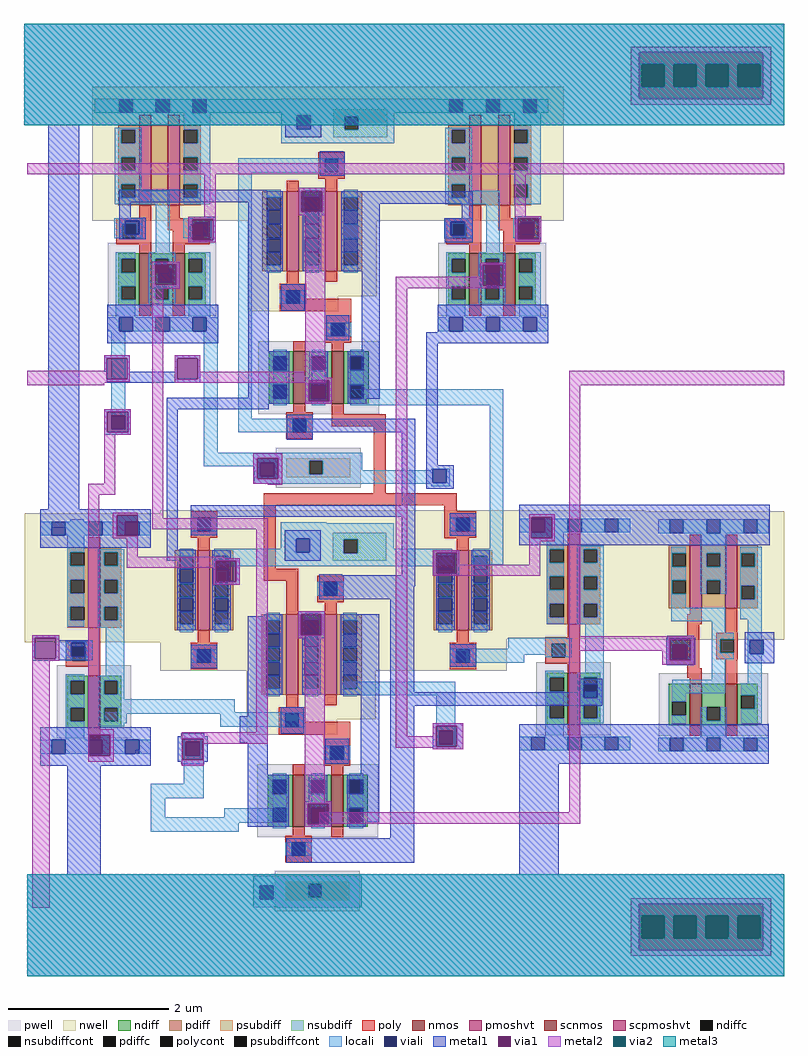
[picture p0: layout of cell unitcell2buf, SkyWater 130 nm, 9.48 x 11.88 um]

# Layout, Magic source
magic
tech sky130A
magscale 1 2
<< nwell >>
rect -404 1024 772 1034
rect -396 703 772 1024
rect -404 700 772 703
rect 258 -422 630 -22
<< poly >>
rect 194 218 224 220
rect 194 188 328 218
rect 298 20 328 188
rect 24 -10 506 20
rect 24 -168 54 -10
rect 474 -92 506 -10
rect 24 -198 110 -168
rect 80 -272 110 -198
<< locali >>
rect -398 970 -336 1004
rect -114 998 68 1003
rect 180 1002 458 1004
rect 346 998 460 1002
rect -109 969 78 998
rect 342 969 487 998
rect 160 818 226 856
rect -322 666 -321 700
rect -287 666 -286 700
rect -150 662 -148 696
rect -114 662 -112 696
rect 256 690 258 692
rect 490 690 491 698
rect 224 658 258 690
rect 480 664 491 690
rect 525 690 526 698
rect 525 664 544 690
rect 664 664 665 698
rect 699 664 700 698
rect 480 658 544 664
rect -240 580 -204 582
rect -240 546 -239 580
rect -205 546 -204 580
rect -240 544 -204 546
rect 578 575 614 576
rect 578 541 579 575
rect 613 541 614 575
rect 578 540 614 541
rect -356 425 -330 458
rect -356 214 -322 425
rect -125 122 -91 457
rect 240 240 622 280
rect 80 172 94 206
rect -125 118 0 122
rect -125 88 10 118
rect 442 80 488 82
rect 442 78 446 80
rect 270 76 446 78
rect 10 44 46 62
rect 242 46 446 76
rect 480 46 488 80
rect 242 44 488 46
rect 442 38 488 44
rect -459 -65 -425 -44
rect 588 -118 622 240
rect -100 -162 106 -118
rect 306 -162 494 -118
rect 546 -158 622 -118
rect -78 -324 -64 -294
rect -74 -326 -64 -324
rect -460 -386 -456 -352
rect -422 -386 -418 -352
rect 634 -362 778 -340
rect 1234 -346 1272 -344
rect 1038 -358 1082 -356
rect 488 -368 554 -366
rect 634 -368 792 -362
rect 488 -372 792 -368
rect 530 -382 792 -372
rect 530 -402 674 -382
rect 726 -388 792 -382
rect 1038 -392 1043 -358
rect 1077 -392 1082 -358
rect 1234 -380 1236 -346
rect 1270 -380 1272 -346
rect 1234 -382 1272 -380
rect 1038 -394 1082 -392
rect 222 -484 502 -450
rect -332 -526 -48 -494
rect -378 -530 128 -526
rect -378 -554 -318 -530
rect -84 -562 128 -530
rect 454 -572 502 -484
rect -176 -600 -130 -590
rect -176 -634 -170 -600
rect -136 -620 -130 -600
rect 454 -606 462 -572
rect 496 -606 502 -572
rect 454 -618 502 -606
rect -136 -634 -126 -620
rect -176 -704 -126 -634
rect -258 -740 -126 -704
rect -258 -788 -222 -740
rect 78 -766 81 -729
rect -74 -788 82 -766
rect -258 -802 82 -788
rect -258 -824 -38 -802
rect 214 -978 266 -936
<< viali >>
rect -321 666 -287 700
rect -148 662 -114 696
rect 491 664 525 698
rect 665 664 699 698
rect -239 546 -205 580
rect 579 541 613 575
rect -356 180 -322 214
rect 446 46 480 80
rect -456 -386 -422 -352
rect 1043 -392 1077 -358
rect 1236 -380 1270 -346
rect 822 -490 856 -456
rect -170 -634 -136 -600
rect 462 -606 496 -572
<< metal1 >>
rect -574 1120 1322 1192
rect -574 1004 961 1120
rect 1269 1004 1322 1120
rect -574 938 1322 1004
rect -514 -66 -436 938
rect 102 922 146 938
rect -336 746 30 778
rect -336 708 -308 746
rect 226 742 546 774
rect -336 700 -270 708
rect -336 666 -321 700
rect -287 666 -270 700
rect -336 654 -270 666
rect -164 704 -96 710
rect 518 706 546 742
rect -164 652 -154 704
rect -102 652 -96 704
rect -164 646 -96 652
rect 476 698 546 706
rect 476 664 491 698
rect 525 664 546 698
rect 476 646 546 664
rect 652 706 716 712
rect 652 654 658 706
rect 710 654 716 706
rect 652 648 716 654
rect -254 592 -186 598
rect -254 540 -246 592
rect -194 540 -186 592
rect -254 530 -186 540
rect 564 590 628 596
rect 564 538 570 590
rect 622 538 628 590
rect 564 532 628 538
rect -374 357 -310 364
rect -374 324 -368 357
rect -316 324 -310 357
rect -198 357 -134 364
rect -198 324 -192 357
rect -316 305 -192 324
rect -140 305 -134 357
rect -368 296 -134 305
rect -218 244 -14 258
rect -218 230 36 244
rect -374 224 -308 230
rect -374 172 -366 224
rect -314 172 -308 224
rect -374 166 -308 172
rect -218 -120 -190 230
rect 106 172 402 206
rect 4 108 64 112
rect 4 56 8 108
rect 60 56 64 108
rect 4 52 64 56
rect 368 -10 402 172
rect 430 90 458 422
rect 430 80 498 90
rect 430 46 446 80
rect 480 46 498 80
rect 430 32 498 46
rect -158 -38 402 -10
rect -158 -84 -92 -38
rect -218 -122 -146 -120
rect -218 -124 -190 -122
rect -218 -148 -192 -124
rect -102 -148 -36 -142
rect -102 -200 -96 -148
rect -44 -200 -36 -148
rect -102 -208 -36 -200
rect 368 -212 402 -38
rect 488 -86 554 -30
rect 662 -40 1286 -8
rect 662 -92 692 -40
rect 744 -92 1286 -40
rect 662 -110 1286 -92
rect 446 -128 512 -122
rect 446 -180 454 -128
rect 506 -180 512 -128
rect 446 -186 512 -180
rect -554 -340 -486 -334
rect -554 -392 -547 -340
rect -495 -346 -486 -340
rect 1028 -344 1100 -340
rect -495 -352 -402 -346
rect -495 -386 -456 -352
rect -422 -386 -402 -352
rect -495 -392 -402 -386
rect -554 -396 -402 -392
rect -554 -398 -486 -396
rect -158 -416 -92 -358
rect 488 -412 554 -356
rect 1028 -396 1037 -344
rect 1089 -396 1100 -344
rect 1028 -408 1100 -396
rect 1224 -346 1298 -326
rect 1224 -380 1236 -346
rect 1270 -380 1298 -346
rect 1224 -404 1298 -380
rect 810 -456 868 -442
rect 810 -476 822 -456
rect 386 -490 822 -476
rect 856 -490 868 -456
rect 386 -510 868 -490
rect -414 -582 -356 -576
rect -414 -628 -411 -582
rect -466 -634 -411 -628
rect -359 -634 -356 -582
rect -182 -586 -124 -578
rect -190 -592 -116 -586
rect -466 -640 -356 -634
rect -466 -930 -382 -640
rect -296 -654 -284 -620
rect -190 -644 -179 -592
rect -127 -644 -116 -592
rect -36 -602 28 -536
rect 446 -560 522 -554
rect 446 -612 454 -560
rect 506 -612 522 -560
rect 446 -618 522 -612
rect -190 -650 -116 -644
rect -182 -656 -124 -650
rect 662 -654 1284 -556
rect 662 -930 760 -654
rect -566 -1004 1322 -930
rect -566 -1120 961 -1004
rect 1269 -1120 1322 -1004
rect -566 -1184 1322 -1120
<< via1 >>
rect 961 1004 1269 1120
rect -154 696 -102 704
rect -154 662 -148 696
rect -148 662 -114 696
rect -114 662 -102 696
rect -154 652 -102 662
rect 658 698 710 706
rect 658 664 665 698
rect 665 664 699 698
rect 699 664 710 698
rect 658 654 710 664
rect -246 580 -194 592
rect -246 546 -239 580
rect -239 546 -205 580
rect -205 546 -194 580
rect -246 540 -194 546
rect 570 575 622 590
rect 570 541 579 575
rect 579 541 613 575
rect 613 541 622 575
rect 570 538 622 541
rect -368 305 -316 357
rect -192 305 -140 357
rect -366 214 -314 224
rect -366 180 -356 214
rect -356 180 -322 214
rect -322 180 -314 214
rect -366 172 -314 180
rect -342 -86 -290 -34
rect 8 56 60 108
rect -96 -200 -44 -148
rect 692 -92 744 -40
rect 454 -180 506 -128
rect -547 -392 -495 -340
rect 1037 -358 1089 -344
rect 1037 -392 1043 -358
rect 1043 -392 1077 -358
rect 1077 -392 1089 -358
rect 1037 -396 1089 -392
rect -411 -634 -359 -582
rect -179 -600 -127 -592
rect -179 -634 -170 -600
rect -170 -634 -136 -600
rect -136 -634 -127 -600
rect -179 -644 -127 -634
rect 454 -572 506 -560
rect 454 -606 462 -572
rect 462 -606 496 -572
rect 496 -606 506 -572
rect 454 -612 506 -606
rect 961 -1120 1269 -1004
<< metal2 >>
rect 940 1120 1290 1134
rect 940 1004 961 1120
rect 1269 1004 1290 1120
rect 940 990 1290 1004
rect -566 816 1322 844
rect -124 710 -96 816
rect -164 704 -96 710
rect -164 652 -154 704
rect -102 652 -96 704
rect 650 712 678 816
rect 650 706 716 712
rect 650 692 658 706
rect -164 646 -96 652
rect 652 654 658 692
rect 710 654 716 706
rect 652 648 716 654
rect -254 592 -186 598
rect -254 540 -246 592
rect -194 540 -186 592
rect 564 590 628 596
rect 564 560 570 590
rect -254 530 -186 540
rect 354 538 570 560
rect 622 538 628 590
rect 354 532 628 538
rect -374 357 -310 364
rect -374 326 -368 357
rect -566 305 -368 326
rect -316 305 -310 357
rect -566 298 -310 305
rect -566 296 -368 298
rect -566 290 -374 296
rect -374 224 -308 230
rect -374 172 -366 224
rect -314 172 -308 224
rect -374 166 -308 172
rect -374 44 -346 166
rect -414 16 -346 44
rect -554 -340 -486 -334
rect -554 -392 -547 -340
rect -495 -392 -486 -340
rect -554 -398 -486 -392
rect -554 -1014 -510 -398
rect -414 -568 -386 16
rect -352 -34 -290 -28
rect -352 -86 -342 -34
rect -254 -42 -226 530
rect 136 462 168 504
rect -198 357 -134 364
rect -198 305 -192 357
rect -140 324 -134 357
rect -140 305 180 324
rect -198 296 180 305
rect -2 108 70 120
rect -2 56 8 108
rect 60 56 70 108
rect -2 44 70 56
rect 34 42 70 44
rect -254 -70 34 -42
rect -352 -92 -290 -86
rect -318 -138 -290 -92
rect -318 -142 -74 -138
rect -318 -148 -36 -142
rect -318 -166 -96 -148
rect -102 -200 -96 -166
rect -44 -200 -36 -148
rect -102 -208 -36 -200
rect -414 -582 -350 -568
rect 6 -576 34 -70
rect 138 -572 166 -536
rect -414 -634 -411 -582
rect -359 -634 -350 -582
rect -414 -650 -350 -634
rect -180 -592 34 -576
rect -180 -644 -179 -592
rect -127 -604 34 -592
rect 354 -586 382 532
rect 786 290 1322 326
rect 686 -40 750 -32
rect 686 -92 692 -40
rect 744 -92 750 -40
rect 686 -100 750 -92
rect 446 -128 512 -122
rect 446 -180 454 -128
rect 506 -158 512 -128
rect 686 -158 714 -100
rect 506 -180 714 -158
rect 446 -186 714 -180
rect 786 -336 814 290
rect 786 -344 1098 -336
rect 786 -372 1037 -344
rect 446 -560 522 -554
rect 446 -586 454 -560
rect -127 -644 -126 -604
rect 354 -612 454 -586
rect 506 -612 522 -560
rect 354 -614 522 -612
rect 446 -618 522 -614
rect -180 -660 -126 -644
rect 786 -776 814 -372
rect 1018 -396 1037 -372
rect 1089 -396 1098 -344
rect 1018 -408 1098 -396
rect 162 -804 814 -776
rect 940 -1004 1290 -990
rect 940 -1120 961 -1004
rect 1269 -1120 1290 -1004
rect 940 -1134 1290 -1120
<< via2 >>
rect 967 1034 1023 1090
rect 1047 1034 1103 1090
rect 1127 1034 1183 1090
rect 1207 1034 1263 1090
rect 967 -1090 1023 -1034
rect 1047 -1090 1103 -1034
rect 1127 -1090 1183 -1034
rect 1207 -1090 1263 -1034
<< metal3 >>
rect -574 1090 1322 1192
rect -574 1034 967 1090
rect 1023 1034 1047 1090
rect 1103 1034 1127 1090
rect 1183 1034 1207 1090
rect 1263 1034 1322 1090
rect -574 938 1322 1034
rect -566 -1034 1322 -930
rect -566 -1090 967 -1034
rect 1023 -1090 1047 -1034
rect 1103 -1090 1127 -1034
rect 1183 -1090 1207 -1034
rect 1263 -1090 1322 -1034
rect -566 -1185 1322 -1090
use sky130_fd_pr__pfet_01v8_hvt_UUWA33  1
transform 1 0 -125 0 1 -222
box -109 -200 109 200
use sky130_fd_pr__pfet_01v8_hvt_UUWA33  2
transform 1 0 521 0 1 -222
box -109 -200 109 200
use demux  demux_0
transform 1 0 36 0 1 156
box -76 -122 336 878
use demux  demux_1
transform 1 0 36 0 1 156
box -76 -122 336 878
use mux  mux_0
transform 1 0 34 0 1 -900
box -54 -122 366 878
use mux  mux_1
transform 1 0 34 0 1 -900
box -54 -122 366 878
use sky130_fd_pr__pfet_01v8_hvt_UUWA33  sky130_fd_pr__pfet_01v8_hvt_UUWA33_0
transform 1 0 -125 0 1 -222
box -109 -200 109 200
use sky130_fd_pr__pfet_01v8_hvt_UUWA33  sky130_fd_pr__pfet_01v8_hvt_UUWA33_1
transform 1 0 521 0 1 -222
box -109 -200 109 200
use sky130_fd_sc_hd__buf_1  sky130_fd_sc_hd__buf_1_0
transform 1 0 1008 0 1 -606
box -38 -48 314 592
use sky130_fd_sc_hd__buf_1  sky130_fd_sc_hd__buf_1_1
transform 1 0 1008 0 1 -606
box -38 -48 314 592
use sky130_fd_sc_hd__inv_1#0  sky130_fd_sc_hd__inv_1#0_0
transform 1 0 662 0 1 -604
box -38 -48 314 592
use sky130_fd_sc_hd__inv_1#0  sky130_fd_sc_hd__inv_1#0_1
transform 1 0 -534 0 1 -612
box -38 -48 314 592
use sky130_fd_sc_hd__inv_1#0  sky130_fd_sc_hd__inv_1_0
transform 1 0 662 0 1 -604
box -38 -48 314 592
use sky130_fd_sc_hd__inv_1#0  sky130_fd_sc_hd__inv_1_1
transform 1 0 -534 0 1 -612
box -38 -48 314 592
use sky130_fd_sc_hd__nor2_1  sky130_fd_sc_hd__nor2_1_0
transform 1 0 458 0 1 442
box -38 -48 314 592
use sky130_fd_sc_hd__nor2_1  sky130_fd_sc_hd__nor2_1_1
transform 1 0 -366 0 1 442
box -38 -48 314 592
use sky130_fd_sc_hd__nor2_1  sky130_fd_sc_hd__nor2_1_2
transform 1 0 -366 0 1 442
box -38 -48 314 592
use sky130_fd_sc_hd__nor2_1  sky130_fd_sc_hd__nor2_1_3
transform 1 0 458 0 1 442
box -38 -48 314 592
<< properties >>
string GDS_END 9459466
string GDS_FILE /scratch/users/lsammaro/OpenPUF/mag/design_merged.gds
string GDS_START 9427114
<< end >>

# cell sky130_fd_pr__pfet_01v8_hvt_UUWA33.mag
magic
tech sky130A
magscale 1 2
<< nwell >>
rect -109 -200 109 200
<< pmoshvt >>
rect -15 -100 15 100
<< pdiff >>
rect -73 85 -15 100
rect -73 51 -61 85
rect -27 51 -15 85
rect -73 17 -15 51
rect -73 -17 -61 17
rect -27 -17 -15 17
rect -73 -51 -15 -17
rect -73 -85 -61 -51
rect -27 -85 -15 -51
rect -73 -100 -15 -85
rect 15 85 73 100
rect 15 51 27 85
rect 61 51 73 85
rect 15 17 73 51
rect 15 -17 27 17
rect 61 -17 73 17
rect 15 -51 73 -17
rect 15 -85 27 -51
rect 61 -85 73 -51
rect 15 -100 73 -85
<< pdiffc >>
rect -61 51 -27 85
rect -61 -17 -27 17
rect -61 -85 -27 -51
rect 27 51 61 85
rect 27 -17 61 17
rect 27 -85 61 -51
<< poly >>
rect -33 181 33 197
rect -33 147 -17 181
rect 17 147 33 181
rect -33 131 33 147
rect -15 100 15 131
rect -15 -131 15 -100
rect -33 -147 33 -131
rect -33 -181 -17 -147
rect 17 -181 33 -147
rect -33 -197 33 -181
<< polycont >>
rect -17 147 17 181
rect -17 -181 17 -147
<< locali >>
rect -33 147 -17 181
rect 17 147 33 181
rect -61 85 -27 104
rect -61 17 -27 19
rect -61 -19 -27 -17
rect -61 -104 -27 -85
rect 27 85 61 104
rect 27 17 61 19
rect 27 -19 61 -17
rect 27 -104 61 -85
rect -33 -181 -17 -147
rect 17 -181 33 -147
<< viali >>
rect -17 147 17 181
rect -61 51 -27 53
rect -61 19 -27 51
rect -61 -51 -27 -19
rect -61 -53 -27 -51
rect 27 51 61 53
rect 27 19 61 51
rect 27 -51 61 -19
rect 27 -53 61 -51
rect -17 -181 17 -147
<< metal1 >>
rect -29 181 29 187
rect -29 147 -17 181
rect 17 147 29 181
rect -29 141 29 147
rect -67 53 -21 100
rect -67 19 -61 53
rect -27 19 -21 53
rect -67 -19 -21 19
rect -67 -53 -61 -19
rect -27 -53 -21 -19
rect -67 -100 -21 -53
rect 21 53 67 100
rect 21 19 27 53
rect 61 19 67 53
rect 21 -19 67 19
rect 21 -53 27 -19
rect 61 -53 67 -19
rect 21 -100 67 -53
rect -29 -147 29 -141
rect -29 -181 -17 -147
rect 17 -181 29 -147
rect -29 -187 29 -181
<< properties >>
string GDS_END 9920366
string GDS_FILE /scratch/users/lsammaro/OpenPUF/mag/design_merged.gds
string GDS_START 9914410
<< end >>

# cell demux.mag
magic
tech sky130A
magscale 1 2
<< nwell >>
rect -54 614 336 878
<< pwell >>
rect 18 -122 230 -22
<< psubdiff >>
rect 44 -54 204 -48
rect 44 -88 101 -54
rect 135 -88 204 -54
rect 44 -96 204 -88
<< nsubdiff >>
rect 162 805 296 822
rect 162 771 190 805
rect 224 771 296 805
rect 162 752 296 771
<< psubdiffcont >>
rect 101 -88 135 -54
<< nsubdiffcont >>
rect 190 771 224 805
<< poly >>
rect 28 318 206 350
rect 140 240 206 318
<< locali >>
rect 32 846 146 848
rect 32 807 314 846
rect 32 773 71 807
rect 105 805 314 807
rect 105 773 190 805
rect 32 771 190 773
rect 224 771 314 805
rect 32 738 314 771
rect -76 664 190 700
rect -76 50 -42 664
rect -76 16 56 50
rect -36 -54 234 -34
rect -36 -59 101 -54
rect -36 -93 -20 -59
rect 14 -88 101 -59
rect 135 -88 234 -54
rect 14 -93 234 -88
rect -36 -112 234 -93
<< viali >>
rect 71 773 105 807
rect -20 -93 14 -59
<< metal1 >>
rect 42 807 132 828
rect 42 773 71 807
rect 105 773 132 807
rect 42 752 132 773
rect 128 716 186 718
rect 128 656 190 716
rect 76 618 142 626
rect -50 218 0 614
rect 76 566 82 618
rect 134 566 142 618
rect 76 558 142 566
rect 188 418 278 618
rect 32 320 90 386
rect 144 246 202 308
rect -50 88 52 218
rect 92 146 158 152
rect 92 94 100 146
rect 152 94 158 146
rect 232 100 278 418
rect 92 88 158 94
rect 46 -2 110 60
rect -38 -59 34 -36
rect -38 -93 -20 -59
rect 14 -93 34 -59
rect -38 -112 34 -93
<< via1 >>
rect 82 566 134 618
rect 100 94 152 146
<< metal2 >>
rect 76 618 142 626
rect 76 566 82 618
rect 134 566 142 618
rect 76 558 142 566
rect 92 152 142 558
rect 92 146 158 152
rect 92 94 100 146
rect 152 94 158 146
rect 92 88 158 94
use sky130_fd_pr__nfet_01v8_PX9ZJG  1
transform 1 0 125 0 1 153
box -151 -153 151 153
use sky130_fd_pr__pfet_01v8_hvt_SH6FHF  2
transform 1 0 109 0 1 518
box -161 -200 161 200
use sky130_fd_pr__nfet_01v8_PX9ZJG  sky130_fd_pr__nfet_01v8_PX9ZJG_0
transform 1 0 125 0 1 153
box -151 -153 151 153
use sky130_fd_pr__nfet_01v8_PX9ZJG  sky130_fd_pr__nfet_01v8_PX9ZJG_1
transform 1 0 125 0 1 153
box -151 -153 151 153
use sky130_fd_pr__pfet_01v8_hvt_SH6FHF  sky130_fd_pr__pfet_01v8_hvt_SH6FHF_0
transform 1 0 109 0 1 518
box -161 -200 161 200
use sky130_fd_pr__pfet_01v8_hvt_SH6FHF  sky130_fd_pr__pfet_01v8_hvt_SH6FHF_1
transform 1 0 109 0 1 518
box -161 -200 161 200
<< properties >>
string GDS_END 9914344
string GDS_FILE /scratch/users/lsammaro/OpenPUF/mag/design_merged.gds
string GDS_START 9906600
<< end >>

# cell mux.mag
magic
tech sky130A
magscale 1 2
<< nwell >>
rect -54 614 336 878
<< pwell >>
rect 18 -122 230 -22
<< psubdiff >>
rect 44 -54 204 -48
rect 44 -88 101 -54
rect 135 -88 204 -54
rect 44 -96 204 -88
<< nsubdiff >>
rect 162 805 296 822
rect 162 771 190 805
rect 224 771 296 805
rect 162 752 296 771
<< psubdiffcont >>
rect 101 -88 135 -54
<< nsubdiffcont >>
rect 190 771 224 805
<< poly >>
rect 28 318 206 350
rect 140 240 206 318
<< locali >>
rect 32 846 146 848
rect 32 807 314 846
rect 32 773 71 807
rect 105 805 314 807
rect 105 773 190 805
rect 32 771 190 773
rect 224 771 314 805
rect 32 738 314 771
rect -36 -54 234 -34
rect -36 -59 101 -54
rect -36 -93 -20 -59
rect 14 -88 101 -59
rect 135 -88 234 -54
rect 14 -93 234 -88
rect -36 -112 234 -93
<< viali >>
rect 71 773 105 807
rect -20 -93 14 -59
<< metal1 >>
rect 42 807 132 828
rect 42 773 71 807
rect 105 773 132 807
rect 42 752 132 773
rect 128 716 186 718
rect 128 656 366 716
rect 76 618 142 626
rect -50 218 0 614
rect 76 566 82 618
rect 134 566 142 618
rect 76 558 142 566
rect 188 418 278 618
rect 32 320 90 386
rect 144 246 202 308
rect -50 88 52 218
rect 92 146 158 152
rect 92 94 100 146
rect 152 94 158 146
rect 232 100 278 418
rect 92 88 158 94
rect 306 60 366 656
rect 46 -2 366 60
rect -38 -59 34 -36
rect -38 -93 -20 -59
rect 14 -93 34 -59
rect -38 -112 34 -93
<< via1 >>
rect 82 566 134 618
rect 100 94 152 146
<< metal2 >>
rect 76 618 142 626
rect 76 566 82 618
rect 134 566 142 618
rect 76 558 142 566
rect 92 152 142 558
rect 92 146 158 152
rect 92 94 100 146
rect 152 94 158 146
rect 92 88 158 94
use sky130_fd_pr__nfet_01v8_PX9ZJG  1
transform 1 0 125 0 1 153
box -151 -153 151 153
use sky130_fd_pr__pfet_01v8_hvt_SH6FHF  2
transform 1 0 109 0 1 518
box -161 -200 161 200
use sky130_fd_pr__nfet_01v8_PX9ZJG  sky130_fd_pr__nfet_01v8_PX9ZJG_0
transform 1 0 125 0 1 153
box -151 -153 151 153
use sky130_fd_pr__nfet_01v8_PX9ZJG  sky130_fd_pr__nfet_01v8_PX9ZJG_1
transform 1 0 125 0 1 153
box -151 -153 151 153
use sky130_fd_pr__nfet_01v8_PX9ZJG  sky130_fd_pr__nfet_01v8_PX9ZJG_2
transform 1 0 125 0 1 153
box -151 -153 151 153
use sky130_fd_pr__nfet_01v8_PX9ZJG  sky130_fd_pr__nfet_01v8_PX9ZJG_3
transform 1 0 125 0 1 153
box -151 -153 151 153
use sky130_fd_pr__nfet_01v8_PX9ZJG  sky130_fd_pr__nfet_01v8_PX9ZJG_4
transform 1 0 125 0 1 153
box -151 -153 151 153
use sky130_fd_pr__pfet_01v8_hvt_SH6FHF  sky130_fd_pr__pfet_01v8_hvt_SH6FHF_0
transform 1 0 109 0 1 518
box -161 -200 161 200
use sky130_fd_pr__pfet_01v8_hvt_SH6FHF  sky130_fd_pr__pfet_01v8_hvt_SH6FHF_1
transform 1 0 109 0 1 518
box -161 -200 161 200
use sky130_fd_pr__pfet_01v8_hvt_SH6FHF  sky130_fd_pr__pfet_01v8_hvt_SH6FHF_2
transform 1 0 109 0 1 518
box -161 -200 161 200
use sky130_fd_pr__pfet_01v8_hvt_SH6FHF  sky130_fd_pr__pfet_01v8_hvt_SH6FHF_3
transform 1 0 109 0 1 518
box -161 -200 161 200
use sky130_fd_pr__pfet_01v8_hvt_SH6FHF  sky130_fd_pr__pfet_01v8_hvt_SH6FHF_4
transform 1 0 109 0 1 518
box -161 -200 161 200
<< properties >>
string GDS_END 9906562
string GDS_FILE /scratch/users/lsammaro/OpenPUF/mag/design_merged.gds
string GDS_START 9891846
<< end >>

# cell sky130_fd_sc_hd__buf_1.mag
magic
tech sky130A
magscale 1 2
<< nwell >>
rect -38 261 314 582
<< pwell >>
rect 1 21 275 177
rect 31 -17 65 21
<< scnmos >>
rect 79 47 109 151
rect 167 47 197 151
<< scpmoshvt >>
rect 79 339 109 497
rect 167 339 197 497
<< ndiff >>
rect 27 106 79 151
rect 27 72 35 106
rect 69 72 79 106
rect 27 47 79 72
rect 109 93 167 151
rect 109 59 121 93
rect 155 59 167 93
rect 109 47 167 59
rect 197 123 249 151
rect 197 89 207 123
rect 241 89 249 123
rect 197 47 249 89
<< pdiff >>
rect 27 477 79 497
rect 27 443 35 477
rect 69 443 79 477
rect 27 409 79 443
rect 27 375 35 409
rect 69 375 79 409
rect 27 339 79 375
rect 109 477 167 497
rect 109 443 121 477
rect 155 443 167 477
rect 109 409 167 443
rect 109 375 121 409
rect 155 375 167 409
rect 109 339 167 375
rect 197 477 249 497
rect 197 443 207 477
rect 241 443 249 477
rect 197 396 249 443
rect 197 362 207 396
rect 241 362 249 396
rect 197 339 249 362
<< ndiffc >>
rect 35 72 69 106
rect 121 59 155 93
rect 207 89 241 123
<< pdiffc >>
rect 35 443 69 477
rect 35 375 69 409
rect 121 443 155 477
rect 121 375 155 409
rect 207 443 241 477
rect 207 362 241 396
<< poly >>
rect 79 497 109 523
rect 167 497 197 523
rect 79 324 109 339
rect 73 300 109 324
rect 73 265 103 300
rect 167 278 197 339
rect 27 249 103 265
rect 27 215 37 249
rect 71 215 103 249
rect 27 199 103 215
rect 145 262 199 278
rect 145 228 155 262
rect 189 228 199 262
rect 145 212 199 228
rect 73 190 103 199
rect 73 166 109 190
rect 79 151 109 166
rect 167 151 197 212
rect 79 21 109 47
rect 167 21 197 47
<< polycont >>
rect 37 215 71 249
rect 155 228 189 262
<< locali >>
rect 0 527 29 561
rect 63 527 121 561
rect 155 527 213 561
rect 247 527 276 561
rect 33 477 69 493
rect 33 443 35 477
rect 33 409 69 443
rect 33 375 35 409
rect 105 477 171 527
rect 105 443 121 477
rect 155 443 171 477
rect 105 409 171 443
rect 105 375 121 409
rect 155 375 171 409
rect 205 477 259 493
rect 205 443 207 477
rect 241 443 259 477
rect 205 396 259 443
rect 33 341 69 375
rect 205 362 207 396
rect 241 362 259 396
rect 33 307 168 341
rect 205 312 259 362
rect 134 278 168 307
rect 21 249 89 271
rect 21 215 37 249
rect 71 215 89 249
rect 21 197 89 215
rect 134 262 189 278
rect 134 228 155 262
rect 134 212 189 228
rect 134 161 168 212
rect 35 127 168 161
rect 223 152 259 312
rect 35 106 69 127
rect 207 123 259 152
rect 35 51 69 72
rect 105 59 121 93
rect 155 59 171 93
rect 105 17 171 59
rect 241 89 259 123
rect 207 51 259 89
rect 0 -17 29 17
rect 63 -17 121 17
rect 155 -17 213 17
rect 247 -17 276 17
<< viali >>
rect 29 527 63 561
rect 121 527 155 561
rect 213 527 247 561
rect 29 -17 63 17
rect 121 -17 155 17
rect 213 -17 247 17
<< metal1 >>
rect 0 561 276 592
rect 0 527 29 561
rect 63 527 121 561
rect 155 527 213 561
rect 247 527 276 561
rect 0 496 276 527
rect 0 17 276 48
rect 0 -17 29 17
rect 63 -17 121 17
rect 155 -17 213 17
rect 247 -17 276 17
rect 0 -48 276 -17
<< labels >>
flabel metal1 s 31 -17 65 17 0 FreeSans 200 0 0 0 VGND
port 1 nsew
flabel metal1 s 29 527 63 561 0 FreeSans 200 0 0 0 VPWR
port 2 nsew
flabel locali s 29 527 63 561 0 FreeSans 200 0 0 0 VPWR
port 2 nsew
flabel locali s 31 -17 65 17 0 FreeSans 200 0 0 0 VGND
port 1 nsew
flabel locali s 211 85 245 119 0 FreeSans 200 0 0 0 X
port 3 nsew
flabel locali s 211 357 245 391 0 FreeSans 200 0 0 0 X
port 3 nsew
flabel locali s 211 425 245 459 0 FreeSans 200 0 0 0 X
port 3 nsew
flabel locali s 29 221 63 255 0 FreeSans 200 0 0 0 A
port 4 nsew
flabel nwell s 29 527 63 561 0 FreeSans 200 0 0 0 VPB
port 5 nsew
flabel pwell s 31 -17 65 17 0 FreeSans 200 0 0 0 VNB
port 6 nsew
rlabel comment s 0 0 0 0 4 buf_1
<< properties >>
string FIXED_BBOX 0 0 276 544
string GDS_END 9891810
string GDS_FILE /scratch/users/lsammaro/OpenPUF/mag/design_merged.gds
string GDS_START 9866782
string path 0.000 13.600 6.900 13.600 
<< end >>

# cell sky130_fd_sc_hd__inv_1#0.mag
magic
tech sky130A
magscale 1 2
<< nwell >>
rect -38 261 314 582
<< pwell >>
rect 42 21 228 203
<< scnmos >>
rect 120 47 150 177
<< scpmoshvt >>
rect 120 297 150 497
<< ndiff >>
rect 68 165 120 177
rect 68 131 76 165
rect 110 131 120 165
rect 68 97 120 131
rect 68 63 76 97
rect 110 63 120 97
rect 68 47 120 63
rect 150 165 202 177
rect 150 131 160 165
rect 194 131 202 165
rect 150 97 202 131
rect 150 63 160 97
rect 194 63 202 97
rect 150 47 202 63
<< pdiff >>
rect 68 485 120 497
rect 68 451 76 485
rect 110 451 120 485
rect 68 417 120 451
rect 68 383 76 417
rect 110 383 120 417
rect 68 349 120 383
rect 68 315 76 349
rect 110 315 120 349
rect 68 297 120 315
rect 150 485 202 497
rect 150 451 160 485
rect 194 451 202 485
rect 150 417 202 451
rect 150 383 160 417
rect 194 383 202 417
rect 150 349 202 383
rect 150 315 160 349
rect 194 315 202 349
rect 150 297 202 315
<< ndiffc >>
rect 76 131 110 165
rect 76 63 110 97
rect 160 131 194 165
rect 160 63 194 97
<< pdiffc >>
rect 76 451 110 485
rect 76 383 110 417
rect 76 315 110 349
rect 160 451 194 485
rect 160 383 194 417
rect 160 315 194 349
<< poly >>
rect 120 497 150 523
rect 120 265 150 297
rect 64 249 150 265
rect 64 215 80 249
rect 114 215 150 249
rect 64 199 150 215
rect 120 177 150 199
rect 120 21 150 47
<< polycont >>
rect 80 215 114 249
<< locali >>
rect 0 527 29 561
rect 63 527 121 561
rect 155 527 213 561
rect 247 527 276 561
rect 68 485 110 527
rect 68 451 76 485
rect 68 417 110 451
rect 68 383 76 417
rect 68 349 110 383
rect 68 315 76 349
rect 68 299 110 315
rect 144 485 210 493
rect 144 451 160 485
rect 194 451 210 485
rect 144 417 210 451
rect 144 383 160 417
rect 194 383 210 417
rect 144 349 210 383
rect 144 315 160 349
rect 194 315 210 349
rect 144 297 210 315
rect 64 249 130 263
rect 64 215 80 249
rect 114 215 130 249
rect 64 165 110 181
rect 164 177 210 297
rect 64 131 76 165
rect 64 97 110 131
rect 64 63 76 97
rect 64 17 110 63
rect 144 165 210 177
rect 144 131 160 165
rect 194 131 210 165
rect 144 97 210 131
rect 144 63 160 97
rect 194 63 210 97
rect 144 51 210 63
rect 0 -17 29 17
rect 63 -17 121 17
rect 155 -17 213 17
rect 247 -17 276 17
<< viali >>
rect 29 527 63 561
rect 121 527 155 561
rect 213 527 247 561
rect 29 -17 63 17
rect 121 -17 155 17
rect 213 -17 247 17
<< metal1 >>
rect 0 561 276 592
rect 0 527 29 561
rect 63 527 121 561
rect 155 527 213 561
rect 247 527 276 561
rect 0 496 276 527
rect 0 17 276 48
rect 0 -17 29 17
rect 63 -17 121 17
rect 155 -17 213 17
rect 247 -17 276 17
rect 0 -48 276 -17
<< properties >>
string FIXED_BBOX 0 0 276 544
string GDS_END 9866728
string GDS_FILE /scratch/users/lsammaro/OpenPUF/mag/design_merged.gds
string GDS_START 9851748
<< end >>

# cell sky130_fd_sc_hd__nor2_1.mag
magic
tech sky130A
magscale 1 2
<< nwell >>
rect -38 261 314 582
<< pwell >>
rect 1 21 271 203
rect 30 -17 64 21
<< scnmos >>
rect 79 47 109 177
rect 163 47 193 177
<< scpmoshvt >>
rect 79 297 109 497
rect 151 297 181 497
<< ndiff >>
rect 27 163 79 177
rect 27 129 35 163
rect 69 129 79 163
rect 27 95 79 129
rect 27 61 35 95
rect 69 61 79 95
rect 27 47 79 61
rect 109 163 163 177
rect 109 129 119 163
rect 153 129 163 163
rect 109 95 163 129
rect 109 61 119 95
rect 153 61 163 95
rect 109 47 163 61
rect 193 163 245 177
rect 193 129 203 163
rect 237 129 245 163
rect 193 95 245 129
rect 193 61 203 95
rect 237 61 245 95
rect 193 47 245 61
<< pdiff >>
rect 27 485 79 497
rect 27 451 35 485
rect 69 451 79 485
rect 27 417 79 451
rect 27 383 35 417
rect 69 383 79 417
rect 27 349 79 383
rect 27 315 35 349
rect 69 315 79 349
rect 27 297 79 315
rect 109 297 151 497
rect 181 485 233 497
rect 181 451 191 485
rect 225 451 233 485
rect 181 417 233 451
rect 181 383 191 417
rect 225 383 233 417
rect 181 349 233 383
rect 181 315 191 349
rect 225 315 233 349
rect 181 297 233 315
<< ndiffc >>
rect 35 129 69 163
rect 35 61 69 95
rect 119 129 153 163
rect 119 61 153 95
rect 203 129 237 163
rect 203 61 237 95
<< pdiffc >>
rect 35 451 69 485
rect 35 383 69 417
rect 35 315 69 349
rect 191 451 225 485
rect 191 383 225 417
rect 191 315 225 349
<< poly >>
rect 79 497 109 523
rect 151 497 181 523
rect 79 265 109 297
rect 22 249 109 265
rect 22 215 37 249
rect 71 215 109 249
rect 151 265 181 297
rect 151 249 255 265
rect 151 235 205 249
rect 22 199 109 215
rect 79 177 109 199
rect 163 215 205 235
rect 239 215 255 249
rect 163 199 255 215
rect 163 177 193 199
rect 79 21 109 47
rect 163 21 193 47
<< polycont >>
rect 37 215 71 249
rect 205 215 239 249
<< locali >>
rect 0 527 29 561
rect 63 527 121 561
rect 155 527 213 561
rect 247 527 276 561
rect 19 485 85 490
rect 19 451 35 485
rect 69 451 85 485
rect 19 417 85 451
rect 19 383 35 417
rect 69 383 85 417
rect 19 349 85 383
rect 19 315 35 349
rect 69 333 85 349
rect 191 485 257 527
rect 225 451 257 485
rect 191 417 257 451
rect 225 383 257 417
rect 191 349 257 383
rect 69 315 155 333
rect 19 299 155 315
rect 225 315 257 349
rect 191 299 257 315
rect 17 249 87 265
rect 17 215 37 249
rect 71 215 87 249
rect 121 179 155 299
rect 189 249 259 265
rect 189 215 205 249
rect 239 215 259 249
rect 21 163 69 179
rect 21 129 35 163
rect 21 95 69 129
rect 21 61 35 95
rect 21 17 69 61
rect 103 163 169 179
rect 103 129 119 163
rect 153 129 169 163
rect 103 95 169 129
rect 103 61 119 95
rect 153 61 169 95
rect 103 51 169 61
rect 203 163 257 179
rect 237 129 257 163
rect 203 95 257 129
rect 237 61 257 95
rect 203 17 257 61
rect 0 -17 29 17
rect 63 -17 121 17
rect 155 -17 213 17
rect 247 -17 276 17
<< viali >>
rect 29 527 63 561
rect 121 527 155 561
rect 213 527 247 561
rect 29 -17 63 17
rect 121 -17 155 17
rect 213 -17 247 17
<< metal1 >>
rect 0 561 276 592
rect 0 527 29 561
rect 63 527 121 561
rect 155 527 213 561
rect 247 527 276 561
rect 0 496 276 527
rect 0 17 276 48
rect 0 -17 29 17
rect 63 -17 121 17
rect 155 -17 213 17
rect 247 -17 276 17
rect 0 -48 276 -17
<< labels >>
flabel locali s 29 221 63 255 0 FreeSans 200 0 0 0 B
port 1 nsew
flabel locali s 30 425 64 459 0 FreeSans 200 0 0 0 Y
port 2 nsew
flabel locali s 213 221 247 255 0 FreeSans 200 0 0 0 A
port 3 nsew
flabel nwell s 30 527 64 561 0 FreeSans 200 0 0 0 VPB
port 4 nsew
flabel pwell s 30 -17 64 17 0 FreeSans 200 0 0 0 VNB
port 5 nsew
flabel metal1 s 30 -17 64 17 0 FreeSans 200 0 0 0 VGND
port 6 nsew
flabel metal1 s 30 527 64 561 0 FreeSans 200 0 0 0 VPWR
port 7 nsew
rlabel comment s 0 0 0 0 4 nor2_1
<< properties >>
string FIXED_BBOX 0 0 276 544
string GDS_END 9061646
string GDS_FILE /scratch/users/lsammaro/OpenPUF/mag/design_merged.gds
string GDS_START 9038840
string path 0.000 0.000 6.900 0.000 
<< end >>

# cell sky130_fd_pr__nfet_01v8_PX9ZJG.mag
magic
tech sky130A
magscale 1 2
<< pwell >>
rect -151 -91 151 91
<< nmos >>
rect -63 -65 -33 65
rect 33 -65 63 65
<< ndiff >>
rect -125 51 -63 65
rect -125 17 -113 51
rect -79 17 -63 51
rect -125 -17 -63 17
rect -125 -51 -113 -17
rect -79 -51 -63 -17
rect -125 -65 -63 -51
rect -33 51 33 65
rect -33 17 -17 51
rect 17 17 33 51
rect -33 -17 33 17
rect -33 -51 -17 -17
rect 17 -51 33 -17
rect -33 -65 33 -51
rect 63 51 125 65
rect 63 17 79 51
rect 113 17 125 51
rect 63 -17 125 17
rect 63 -51 79 -17
rect 113 -51 125 -17
rect 63 -65 125 -51
<< ndiffc >>
rect -113 17 -79 51
rect -113 -51 -79 -17
rect -17 17 17 51
rect -17 -51 17 -17
rect 79 17 113 51
rect 79 -51 113 -17
<< poly >>
rect 15 137 81 153
rect 15 103 31 137
rect 65 103 81 137
rect -63 65 -33 91
rect 15 87 81 103
rect 33 65 63 87
rect -63 -87 -33 -65
rect -81 -103 -15 -87
rect 33 -91 63 -65
rect -81 -137 -65 -103
rect -31 -137 -15 -103
rect -81 -153 -15 -137
<< polycont >>
rect 31 103 65 137
rect -65 -137 -31 -103
<< locali >>
rect 15 103 31 137
rect 65 103 81 137
rect -113 53 -79 69
rect -113 -17 -79 17
rect -113 -69 -79 -53
rect -17 53 17 69
rect -17 -17 17 17
rect -17 -69 17 -53
rect 79 53 113 69
rect 79 -17 113 17
rect 79 -69 113 -53
rect -81 -137 -65 -103
rect -31 -137 -15 -103
<< viali >>
rect 31 103 65 137
rect -113 51 -79 53
rect -113 19 -79 51
rect -113 -51 -79 -19
rect -113 -53 -79 -51
rect -17 51 17 53
rect -17 19 17 51
rect -17 -51 17 -19
rect -17 -53 17 -51
rect 79 51 113 53
rect 79 19 113 51
rect 79 -51 113 -19
rect 79 -53 113 -51
rect -65 -137 -31 -103
<< metal1 >>
rect 19 137 77 143
rect 19 103 31 137
rect 65 103 77 137
rect 19 97 77 103
rect -119 53 -73 65
rect -119 19 -113 53
rect -79 19 -73 53
rect -119 -19 -73 19
rect -119 -53 -113 -19
rect -79 -53 -73 -19
rect -119 -65 -73 -53
rect -23 53 23 65
rect -23 19 -17 53
rect 17 19 23 53
rect -23 -19 23 19
rect -23 -53 -17 -19
rect 17 -53 23 -19
rect -23 -65 23 -53
rect 73 53 119 65
rect 73 19 79 53
rect 113 19 119 53
rect 73 -19 119 19
rect 73 -53 79 -19
rect 113 -53 119 -19
rect 73 -65 119 -53
rect -77 -103 -19 -97
rect -77 -137 -65 -103
rect -31 -137 -19 -103
rect -77 -143 -19 -137
<< properties >>
string GDS_END 10065864
string GDS_FILE /scratch/users/lsammaro/OpenPUF/mag/design_merged.gds
string GDS_START 10052804
<< end >>

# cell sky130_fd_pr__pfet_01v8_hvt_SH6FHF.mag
magic
tech sky130A
magscale 1 2
<< nwell >>
rect -65 162 161 200
rect -161 -162 161 162
rect -161 -200 65 -162
<< pmoshvt >>
rect -63 -100 -33 100
rect 33 -100 63 100
<< pdiff >>
rect -125 85 -63 100
rect -125 51 -113 85
rect -79 51 -63 85
rect -125 17 -63 51
rect -125 -17 -113 17
rect -79 -17 -63 17
rect -125 -51 -63 -17
rect -125 -85 -113 -51
rect -79 -85 -63 -51
rect -125 -100 -63 -85
rect -33 85 33 100
rect -33 51 -17 85
rect 17 51 33 85
rect -33 17 33 51
rect -33 -17 -17 17
rect 17 -17 33 17
rect -33 -51 33 -17
rect -33 -85 -17 -51
rect 17 -85 33 -51
rect -33 -100 33 -85
rect 63 85 125 100
rect 63 51 79 85
rect 113 51 125 85
rect 63 17 125 51
rect 63 -17 79 17
rect 113 -17 125 17
rect 63 -51 125 -17
rect 63 -85 79 -51
rect 113 -85 125 -51
rect 63 -100 125 -85
<< pdiffc >>
rect -113 51 -79 85
rect -113 -17 -79 17
rect -113 -85 -79 -51
rect -17 51 17 85
rect -17 -17 17 17
rect -17 -85 17 -51
rect 79 51 113 85
rect 79 -17 113 17
rect 79 -85 113 -51
<< poly >>
rect 15 181 81 197
rect 15 147 31 181
rect 65 147 81 181
rect 15 131 81 147
rect -63 100 -33 126
rect 33 100 63 131
rect -63 -131 -33 -100
rect 33 -126 63 -100
rect -81 -147 -15 -131
rect -81 -181 -65 -147
rect -31 -181 -15 -147
rect -81 -197 -15 -181
<< polycont >>
rect 31 147 65 181
rect -65 -181 -31 -147
<< locali >>
rect 15 147 31 181
rect 65 147 81 181
rect -113 85 -79 104
rect -113 17 -79 19
rect -113 -19 -79 -17
rect -113 -104 -79 -85
rect -17 85 17 104
rect -17 17 17 19
rect -17 -19 17 -17
rect -17 -104 17 -85
rect 79 85 113 104
rect 79 17 113 19
rect 79 -19 113 -17
rect 79 -104 113 -85
rect -81 -181 -65 -147
rect -31 -181 -15 -147
<< viali >>
rect 31 147 65 181
rect -113 51 -79 53
rect -113 19 -79 51
rect -113 -51 -79 -19
rect -113 -53 -79 -51
rect -17 51 17 53
rect -17 19 17 51
rect -17 -51 17 -19
rect -17 -53 17 -51
rect 79 51 113 53
rect 79 19 113 51
rect 79 -51 113 -19
rect 79 -53 113 -51
rect -65 -181 -31 -147
<< metal1 >>
rect 19 181 77 187
rect 19 147 31 181
rect 65 147 77 181
rect 19 141 77 147
rect -119 53 -73 100
rect -119 19 -113 53
rect -79 19 -73 53
rect -119 -19 -73 19
rect -119 -53 -113 -19
rect -79 -53 -73 -19
rect -119 -100 -73 -53
rect -23 53 23 100
rect -23 19 -17 53
rect 17 19 23 53
rect -23 -19 23 19
rect -23 -53 -17 -19
rect 17 -53 23 -19
rect -23 -100 23 -53
rect 73 53 119 100
rect 73 19 79 53
rect 113 19 119 53
rect 73 -19 119 19
rect 73 -53 79 -19
rect 113 -53 119 -19
rect 73 -100 119 -53
rect -77 -147 -19 -141
rect -77 -181 -65 -147
rect -31 -181 -19 -147
rect -77 -187 -19 -181
<< properties >>
string GDS_END 10081678
string GDS_FILE /scratch/users/lsammaro/OpenPUF/mag/design_merged.gds
string GDS_START 10065930
<< end >>
